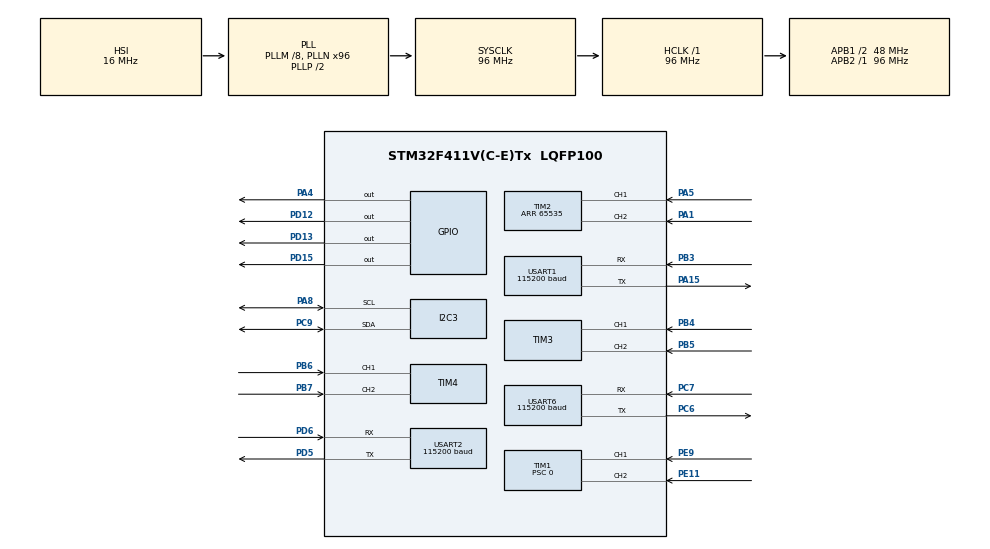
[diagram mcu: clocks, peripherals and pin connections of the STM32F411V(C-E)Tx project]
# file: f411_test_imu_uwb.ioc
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Dma.Request0=USART1_RX
Dma.USART1_RX.0.Direction=DMA_PERIPH_TO_MEMORY
Dma.USART1_RX.0.FIFOMode=DMA_FIFOMODE_DISABLE
Dma.USART1_RX.0.Instance=DMA2_Stream2
Dma.USART1_RX.0.MemDataAlignment=DMA_MDATAALIGN_BYTE
Dma.USART1_RX.0.MemInc=DMA_MINC_ENABLE
Dma.USART1_RX.0.Mode=DMA_NORMAL
Dma.USART1_RX.0.PeriphDataAlignment=DMA_PDATAALIGN_BYTE
Dma.USART1_RX.0.PeriphInc=DMA_PINC_DISABLE
Dma.USART1_RX.0.Priority=DMA_PRIORITY_LOW
Mcu.Family=STM32F4
Mcu.Name=STM32F411V(C-E)Tx
Mcu.Package=LQFP100
NVIC.DMA2_Stream2_IRQn=true\:0\:0\:false\:false\:true\:false\:true\:true
NVIC.PriorityGroup=NVIC_PRIORITYGROUP_4
NVIC.TIM1_BRK_TIM9_IRQn=true\:2\:0\:true\:false\:true\:true\:true\:true
NVIC.USART2_IRQn=true\:0\:0\:true\:false\:true\:true\:true\:true
PA0-WKUP.Mode=SYS_WakeUp0
PA0-WKUP.Signal=SYS_WKUP
PA1.Signal=S_TIM2_CH2
PA13.Mode=Serial_Wire
PA13.Signal=SYS_JTMS-SWDIO
PA14.Mode=Serial_Wire
PA14.Signal=SYS_JTCK-SWCLK
PA15.Mode=Asynchronous
PA15.Signal=USART1_TX
PA4.Signal=GPIO_Output
PA5.Signal=S_TIM2_CH1_ETR
PA8.Mode=I2C
PA8.Signal=I2C3_SCL
PB3.Mode=Asynchronous
PB3.Signal=USART1_RX
PB4.Signal=S_TIM3_CH1
PB5.Signal=S_TIM3_CH2
PB6.Signal=S_TIM4_CH1
PB7.Signal=S_TIM4_CH2
PC6.Mode=Asynchronous
PC6.Signal=USART6_TX
PC7.Mode=Asynchronous
PC7.Signal=USART6_RX
PC9.Mode=I2C
PC9.Signal=I2C3_SDA
PD12.Signal=GPIO_Output
PD13.Signal=GPIO_Output
PD15.Signal=GPIO_Output
PD5.Mode=Asynchronous
PD5.Signal=USART2_TX
PD6.Mode=Asynchronous
PD6.Signal=USART2_RX
PE11.Signal=S_TIM1_CH2
PE9.Signal=S_TIM1_CH1
PH0\ -\ OSC_IN.Mode=HSE-External-Oscillator
PH0\ -\ OSC_IN.Signal=RCC_OSC_IN
PH1\ -\ OSC_OUT.Mode=HSE-External-Oscillator
PH1\ -\ OSC_OUT.Signal=RCC_OSC_OUT
ProjectManager.HeapSize=0x200
ProjectManager.StackSize=0x400
ProjectManager.TargetToolchain=STM32CubeIDE
RCC.48MHZClocksFreq_Value=48000000
RCC.AHBFreq_Value=96000000
RCC.APB1CLKDivider=RCC_HCLK_DIV2
RCC.APB1Freq_Value=48000000
RCC.APB1TimFreq_Value=96000000
RCC.APB2Freq_Value=96000000
RCC.APB2TimFreq_Value=96000000
RCC.CortexFreq_Value=96000000
RCC.HCLKFreq_Value=96000000
RCC.HSE_VALUE=25000000
RCC.HSI_VALUE=16000000
RCC.LSE_VALUE=32768
RCC.PLLM=8
RCC.PLLN=96
RCC.SYSCLKFreq_VALUE=96000000
RCC.SYSCLKSource=RCC_SYSCLKSOURCE_PLLCLK
RCC.VCOOutputFreq_Value=192000000
SH.S_TIM1_CH1.0=TIM1_CH1,Encoder_Interface
SH.S_TIM1_CH2.0=TIM1_CH2,Encoder_Interface
SH.S_TIM2_CH1_ETR.0=TIM2_CH1,Encoder_Interface
SH.S_TIM2_CH2.0=TIM2_CH2,Encoder_Interface
SH.S_TIM3_CH1.0=TIM3_CH1,Encoder_Interface
SH.S_TIM3_CH2.0=TIM3_CH2,Encoder_Interface
SH.S_TIM4_CH1.0=TIM4_CH1,Encoder_Interface
SH.S_TIM4_CH2.0=TIM4_CH2,Encoder_Interface
TIM1.EncoderMode=TIM_ENCODERMODE_TI12
TIM1.Period=65535
TIM1.Prescaler=0
TIM2.EncoderMode=TIM_ENCODERMODE_TI12
TIM2.Period=65535
TIM3.EncoderMode=TIM_ENCODERMODE_TI12
TIM4.EncoderMode=TIM_ENCODERMODE_TI12
USART1.BaudRate=115200
USART1.VirtualMode=VM_ASYNC
USART2.BaudRate=115200
USART2.VirtualMode=VM_ASYNC
USART6.BaudRate=115200
USART6.VirtualMode=VM_ASYNC
board=custom

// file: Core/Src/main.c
/* USER CODE BEGIN Header */
/**
 ******************************************************************************
 * @file           : main.c
 * @brief          : Main program body
 ******************************************************************************
 * @attention
 *
 * Copyright (c) 2024 STMicroelectronics.
 * All rights reserved.
 *
 * This software is licensed under terms that can be found in the LICENSE file
 * in the root directory of this software component.
 * If no LICENSE file comes with this software, it is provided AS-IS.
 *
 ******************************************************************************
 */
/* USER CODE END Header */
#include "main.h"

/* USER CODE BEGIN Includes */
#include "stdio.h"
#include "stdlib.h"
#include "string.h"
#include "bno055_stm32.h"
#include "math.h"

#include "dynamic_8_g.h"
#include "rtw_continuous.h"
#include "rtw_solver.h"
#include "rtwtypes.h"

#include "kalman.h"
/* USER CODE END Includes */

/* USER CODE BEGIN PTD */
#define r 0.048
#define L 0.6
uint8_t rxData[128];
int check = 0;
double time1 = 0,time2=0;
char rx_buffer[100];
uint8_t rx_index = 0;
uint8_t rx_data[1];
uint8_t command_1;
float w1, w2, w3, w4;
float w1_sim=0, w2_sim=0, w3_sim=0, w4_sim=0;
float vx=0, vy=0,vw = 0;
char wheel[50];

uint8_t gpsData[20];
uint8_t gpsData2[20];
char d1_str[50];
char d2_str[50];
float d1 = 0, d2 = 0;
float d1_pre = 0, d2_pre = 0;
float d1_kf,d2_kf;
int d1_flag =0, d2_flag = 0;
float gpsVal = 0;
float x_p = 0, y_p = 0;
float *p[] = { &d1, &d2 };
float d1_calib = 0, d2_calib = 0;
float cos_a;
float a, b;
#define  c  3.0
#define  h  0.3
char *token1;
char *token2;

volatile short cnt1 = 0, cnt_pre1 = 0;
volatile short cnt2 = 0, cnt_pre2 = 0;
volatile short cnt3 = 0, cnt_pre3 = 0;
volatile short cnt4 = 0, cnt_pre4 = 0;
float rate1 = 0, rate2 = 0, rate3 = 0, rate4 = 0;
char position[50];

float yaw = 0;
volatile float roll = 0;
volatile float pitch = 0;
float xq, yq, zq;
char angle[100];
/* USER CODE END PTD */

/* USER CODE BEGIN PD */
bno055_vector_t v;
bno055_vector_t v2;

/* USER CODE END PD */

I2C_HandleTypeDef hi2c3;

TIM_HandleTypeDef htim1;
TIM_HandleTypeDef htim2;
TIM_HandleTypeDef htim3;
TIM_HandleTypeDef htim4;

UART_HandleTypeDef huart1;
UART_HandleTypeDef huart2;
UART_HandleTypeDef huart6;
DMA_HandleTypeDef hdma_usart1_rx;

void SystemClock_Config(void);
static void MX_GPIO_Init(void);
static void MX_DMA_Init(void);
static void MX_TIM1_Init(void);
static void MX_USART2_UART_Init(void);
static void MX_TIM2_Init(void);
static void MX_TIM3_Init(void);
static void MX_TIM4_Init(void);
static void MX_USART6_UART_Init(void);
static void MX_USART1_UART_Init(void);
static void MX_I2C3_Init(void);

/* USER CODE BEGIN 0 */
void encoder_cal() {
	//cnt_pre1 = __HAL_TIM_GET_COUNTER(&htim2);
	//cnt_pre2 = __HAL_TIM_GET_COUNTER(&htim4);
	//cnt_pre3 = __HAL_TIM_GET_COUNTER(&htim3);
	//cnt_pre4 = __HAL_TIM_GET_COUNTER(&htim1);
	//HAL_Delay(100);
	/*cnt4 = __HAL_TIM_GET_COUNTER(&htim1);
	 cnt1 = __HAL_TIM_GET_COUNTER(&htim2);
	 cnt3 = __HAL_TIM_GET_COUNTER(&htim3);
	 cnt2 = __HAL_TIM_GET_COUNTER(&htim4);
	 rate1 = ((float)(cnt1 - cnt_pre1)*60)/(4*440*0.1);
	 rate2 = ((float)(cnt2 - cnt_pre2)*60)/(4*440*0.1);
	 rate3 = ((float)(cnt3 - cnt_pre3)*60)/(4*440*0.1);
	 rate4 = ((float)(cnt4 - cnt_pre4)*60)/(4*440*0.1);*/

	//HAL_Delay(100);
	cnt_pre4 = __HAL_TIM_GET_COUNTER(&htim1);
	cnt_pre1 = __HAL_TIM_GET_COUNTER(&htim2);
	cnt_pre3 = __HAL_TIM_GET_COUNTER(&htim3);
	cnt_pre2 = __HAL_TIM_GET_COUNTER(&htim4);
	HAL_Delay(10);
	cnt4 = __HAL_TIM_GET_COUNTER(&htim1);
	cnt1 = __HAL_TIM_GET_COUNTER(&htim2);
	cnt3 = __HAL_TIM_GET_COUNTER(&htim3);
	cnt2 = __HAL_TIM_GET_COUNTER(&htim4);

	rate1 = (((float) (cnt1 - cnt_pre1)) / (990 * 0.01 * 4)) * 60;
	rate2 = (((float) (cnt2 - cnt_pre2)) / (990 * 0.01 * 4)) * 60;
	rate3 = (((float) (cnt3 - cnt_pre3)) / (990 * 0.01 * 4)) * 60;
	rate4 = (((float) (cnt4 - cnt_pre4)) / (990 * 0.01 * 4)) * 60;

	w1 = rate1 * 2 * 3.14 / 60;
	w2 = rate2 * 2 * 3.14 / 60;
	w3 = rate3 * 2 * 3.14 / 60;
	w4 = rate4 * 2 * 3.14 / 60;

	vx = (r/4)*(w1 + w2 + w3 + w4);
	vy = (r/4)*(-w1 + w2 - w3 + w4);
	vw = (r/(4*L))*(-w1 + w2 + w3 - w4);
}

void pos_xy(float da, float db) {
	a = db * db - h * h;
	a = sqrt(a);
	b = da * da - h * h;
	b = sqrt(b);

	cos_a = (b * b + c * c - a * a) / (2 * b * c);
	x_p = b * cos_a;
	if ((1 - cos_a * cos_a) >= 0) {
		y_p = b * sqrt(1 - cos_a * cos_a);
	}
}
void get_yaw()
{
	 v = bno055_getVectorEuler();
	 yaw = v.x;
	// yaw = (yaw/360)*2*3.1415;
	 if ((yaw >= 0) && (yaw < 180))
		{
		 yaw = -(yaw/360)*2*3.1416;
		}
	 else
	 {
		 yaw = 360 - yaw;
		 yaw = (yaw/360)*2*3.1416;
	 }
	// v2 = bno055_getVectorGyroscope();
	// zq = v2.z;
	}
void get_d() {
	int cnt1 = 0;
	while (cnt1 < 20) {
		HAL_UART_Receive(&huart1, gpsData, 7,10);

		if (gpsData[0] == 'A') {
			token1 = strtok((char*) gpsData, "A");
			d1_pre = atof(token1);
			if (d1_flag == 0)
			{
				d1 = d1_pre;
				d1_flag = 1;
			}
			if ((fabs(d1-d1_pre)<5) && d1_pre != 0)
			{
				d1 = d1_pre;

				d1_calib = d1 - 0.376;
			//	d1_pre = 0;
			//	sprintf(d1_str,"A,%.4f\r\n",d1_pre);
			//	HAL_UART_Transmit(&huart2, d1_str, strlen(d1_str), 100);
			}
		}
		if (gpsData[0] == 'B') {
			token2 = strtok((char*) gpsData, "B");
			d2_pre = atof(token2);
			if (d2_flag == 0)
			{
				d2 = atof(token2);
				d2_flag = 1;
			}
			if((fabs(d2-d2_pre) < 5) && d2_pre != 0)
			{
				d2 = d2_pre;

				d2_calib = d2 - 0.776  ;
			//	d2_pre = 0;
			//	sprintf(d2_str,"B,%.4f\r\n",d2_pre);
			//	HAL_UART_Transmit(&huart2, d2_str, strlen(d2_str), 100);
			}

		}
		//HAL_Delay(10);
		pos_xy(d1_calib, d2_calib);
		memset(gpsData, 0, 7);

		cnt1++;
	}
}
/*
void HAL_TIM_PeriodElapsedCallback(TIM_HandleTypeDef *htim) {
	if (htim->Instance == TIM9) {
		//check++;
		//HAL_Delay(100);
		cnt4 = __HAL_TIM_GET_COUNTER(&htim1);
		cnt1 = __HAL_TIM_GET_COUNTER(&htim2);
		cnt3 = __HAL_TIM_GET_COUNTER(&htim3);
		cnt2 = __HAL_TIM_GET_COUNTER(&htim4);
		rate1 = ((float) (cnt1 - cnt_pre1) * 60 * 15) / (60 * 440 * 0.1);
		rate2 = ((float) (cnt2 - cnt_pre2) * 60 * 15) / (60 * 440 * 0.1);
		rate3 = ((float) (cnt3 - cnt_pre3) * 60 * 15) / (60 * 440 * 0.1);
		rate4 = ((float) (cnt4 - cnt_pre4) * 60 * 15) / (60 * 440 * 0.1);
		cnt_pre1 = cnt1;
		cnt_pre2 = cnt2;
		cnt_pre3 = cnt3;
		cnt_pre4 = cnt4;
		//sprintf(encoder,"%.2f;%.2f;%.2f;%.2f\r\n",rate1,rate2,rate3,rate4);
		//HAL_UART_Transmit(&huart2, (uint8_t *)encoder, strlen(encoder), 100);
		//rate = (((float)cnt)/(440*0.1*4))*60;
		sprintf(position, "E=%.2f;%.2f;%.2f;%.2f;%.2f;%.2f;%.2f;%.2f\r\n",
				rate1, rate2, rate3, rate4, x_p, y_p, yaw, zq);
		//HAL_UART_Transmit_DMA(&huart2, (uint8_t *)position, strlen(position));

	}
}*/

/* USER CODE END 0 */

int main(void)
{

  /* MCU Configuration--------------------------------------------------------*/

  /* Reset of all peripherals, Initializes the Flash interface and the Systick. */
  HAL_Init();

  /* Configure the system clock */
  SystemClock_Config();

  /* Initialize all configured peripherals */
  MX_GPIO_Init();
  MX_DMA_Init();
  MX_TIM1_Init();
  MX_USART2_UART_Init();
  MX_TIM2_Init();
  MX_TIM3_Init();
  MX_TIM4_Init();
  MX_USART6_UART_Init();
  MX_USART1_UART_Init();
  MX_I2C3_Init();
  /* USER CODE BEGIN 2 */

	//HAL_TIM_PWM_Start(&htim2, TIM_CHANNEL_ALL);
  	HAL_GPIO_WritePin(GPIOD, GPIO_PIN_15, SET);
  	HAL_GPIO_WritePin(GPIOD, GPIO_PIN_12, SET);
  	HAL_GPIO_WritePin(GPIOD, GPIO_PIN_13, SET);

	HAL_TIM_Encoder_Start(&htim1, TIM_CHANNEL_1);
	HAL_TIM_Encoder_Start(&htim1, TIM_CHANNEL_2);
	HAL_TIM_Encoder_Start(&htim2, TIM_CHANNEL_1);
	HAL_TIM_Encoder_Start(&htim2, TIM_CHANNEL_2);
	HAL_TIM_Encoder_Start(&htim3, TIM_CHANNEL_1);
	HAL_TIM_Encoder_Start(&htim3, TIM_CHANNEL_2);
	HAL_TIM_Encoder_Start(&htim4, TIM_CHANNEL_1);
	HAL_TIM_Encoder_Start(&htim4, TIM_CHANNEL_2);
	check = 0;

	HAL_UART_Receive_IT(&huart2, rx_data, 1);

	bno055_assignI2C(&hi2c3);

	bno055_setup();
	bno055_setOperationModeNDOF();

	//HAL_UART_Receive_IT(&huart2, rxData, 1);
	//HAL_UART_Receive_IT(&huart1, gpsData, 7);
	dynamic_8_g_initialize();
	get_d();
	get_yaw();
	rtU.x0 = x_p;
	rtU.y0 = y_p;
	rtU.theta0 = yaw;

	//HAL_TIM_Base_Start_IT(&htim9);

  /* USER CODE END 2 */

  /* Infinite loop */
	while (1) {

    /* USER CODE BEGIN 3 */

		//check++;
		//HAL_Delay(100);
		//rate = (((float)cnt)/(440*0.1*4))*60;
		/*v = bno055_getVectorEuler();
		 yaw = v.x;
		 yaw = 360 - yaw;
		 roll = v.y;
		 pitch = v.z;
		 //v2 = bno055_getVectorQuaternion();
		 v2 = bno055_getVectorGyroscope();
		 xq = v2.x;
		 yq = v2.y;
		 zq = v2.z;*/

		//sprintf(angle, "Heading: %.2f Roll: %.2f Pitch: %.2f\r\n", yaw, roll, pitch);
		//HAL_UART_Transmit(&huart1, (uint8_t *)angle, strlen(angle), 100);
		//sprintf(encoder, "E=%.2f;%.2f;%.2f;%.2f;%.2f;%.2f;%.2f;%.2f\r\n",rate1,rate2,rate3,rate4,x_p,y_p,yaw,zq);
		//HAL_UART_Transmit(&huart2, (uint8_t *)encoder, strlen(encoder), 100);
		//encoder_cal();
		//sprintf(encoder, "E=%.2f;%.2f;%.2f;%.2f;%.2f;%.2f;%.2f;%.2f\r\n",rate1,rate2,rate3,rate4,x_p,y_p,yaw,zq);
		//HAL_UART_Transmit(&huart2, (uint8_t *)tx_buffer, strlen(tx_buffer), 100);
		//sprintf(wheel, "%.2f,%.2f,%.2f,%.2f\r\n", w1_sim, w2_sim, w3_sim, w4_sim);
		//HAL_UART_Transmit(&huart6, (uint8_t *)wheel, strlen(rx_buffer), 100);

		get_d();
		get_yaw();
		encoder_cal();
		rtU.vx = vx ;
		rtU.vy = vy ;
		rtU.theta_dot = vw;
		rtU.x = x_p;
		rtU.y = y_p;
		rtU.theta = yaw;
		time1 = rtM->Timing.t[0];
		dynamic_8_g_step();
		time2 = rtM->Timing.t[0];
		w1_sim = rtY.w1;
		w2_sim = rtY.w2;
		w3_sim = rtY.w3;
		w4_sim = rtY.w4;

		memset(wheel,0,strlen(wheel));
		sprintf(wheel, "%.2f;%.2f;%.2f;%.2f\r\n", w1_sim, w2_sim, w3_sim, w4_sim);
		HAL_UART_Transmit(&huart6, (uint8_t *)wheel, strlen(wheel), 100);

	}
  /* USER CODE END 3 */
}

void SystemClock_Config(void)
{
  RCC_OscInitTypeDef RCC_OscInitStruct = {0};
  RCC_ClkInitTypeDef RCC_ClkInitStruct = {0};

  /** Configure the main internal regulator output voltage
  */
  __HAL_RCC_PWR_CLK_ENABLE();
  __HAL_PWR_VOLTAGESCALING_CONFIG(PWR_REGULATOR_VOLTAGE_SCALE1);

  /** Initializes the RCC Oscillators according to the specified parameters
  * in the RCC_OscInitTypeDef structure.
  */
  RCC_OscInitStruct.OscillatorType = RCC_OSCILLATORTYPE_HSI;
  RCC_OscInitStruct.HSIState = RCC_HSI_ON;
  RCC_OscInitStruct.HSICalibrationValue = RCC_HSICALIBRATION_DEFAULT;
  RCC_OscInitStruct.PLL.PLLState = RCC_PLL_ON;
  RCC_OscInitStruct.PLL.PLLSource = RCC_PLLSOURCE_HSI;
  RCC_OscInitStruct.PLL.PLLM = 8;
  RCC_OscInitStruct.PLL.PLLN = 96;
  RCC_OscInitStruct.PLL.PLLP = RCC_PLLP_DIV2;
  RCC_OscInitStruct.PLL.PLLQ = 4;
  if (HAL_RCC_OscConfig(&RCC_OscInitStruct) != HAL_OK)
  {
    Error_Handler();
  }

  /** Initializes the CPU, AHB and APB buses clocks
  */
  RCC_ClkInitStruct.ClockType = RCC_CLOCKTYPE_HCLK|RCC_CLOCKTYPE_SYSCLK
                              |RCC_CLOCKTYPE_PCLK1|RCC_CLOCKTYPE_PCLK2;
  RCC_ClkInitStruct.SYSCLKSource = RCC_SYSCLKSOURCE_PLLCLK;
  RCC_ClkInitStruct.AHBCLKDivider = RCC_SYSCLK_DIV1;
  RCC_ClkInitStruct.APB1CLKDivider = RCC_HCLK_DIV2;
  RCC_ClkInitStruct.APB2CLKDivider = RCC_HCLK_DIV1;

  if (HAL_RCC_ClockConfig(&RCC_ClkInitStruct, FLASH_LATENCY_3) != HAL_OK)
  {
    Error_Handler();
  }
}

static void MX_I2C3_Init(void)
{

  hi2c3.Instance = I2C3;
  hi2c3.Init.ClockSpeed = 100000;
  hi2c3.Init.DutyCycle = I2C_DUTYCYCLE_2;
  hi2c3.Init.OwnAddress1 = 0;
  hi2c3.Init.AddressingMode = I2C_ADDRESSINGMODE_7BIT;
  hi2c3.Init.DualAddressMode = I2C_DUALADDRESS_DISABLE;
  hi2c3.Init.OwnAddress2 = 0;
  hi2c3.Init.GeneralCallMode = I2C_GENERALCALL_DISABLE;
  hi2c3.Init.NoStretchMode = I2C_NOSTRETCH_DISABLE;
  if (HAL_I2C_Init(&hi2c3) != HAL_OK)
  {
    Error_Handler();
  }

}

static void MX_TIM1_Init(void)
{

  TIM_Encoder_InitTypeDef sConfig = {0};
  TIM_MasterConfigTypeDef sMasterConfig = {0};

  htim1.Instance = TIM1;
  htim1.Init.Prescaler = 0;
  htim1.Init.CounterMode = TIM_COUNTERMODE_UP;
  htim1.Init.Period = 65535;
  htim1.Init.ClockDivision = TIM_CLOCKDIVISION_DIV1;
  htim1.Init.RepetitionCounter = 0;
  htim1.Init.AutoReloadPreload = TIM_AUTORELOAD_PRELOAD_DISABLE;
  sConfig.EncoderMode = TIM_ENCODERMODE_TI12;
  sConfig.IC1Polarity = TIM_ICPOLARITY_RISING;
  sConfig.IC1Selection = TIM_ICSELECTION_DIRECTTI;
  sConfig.IC1Prescaler = TIM_ICPSC_DIV1;
  sConfig.IC1Filter = 0;
  sConfig.IC2Polarity = TIM_ICPOLARITY_RISING;
  sConfig.IC2Selection = TIM_ICSELECTION_DIRECTTI;
  sConfig.IC2Prescaler = TIM_ICPSC_DIV1;
  sConfig.IC2Filter = 0;
  if (HAL_TIM_Encoder_Init(&htim1, &sConfig) != HAL_OK)
  {
    Error_Handler();
  }
  sMasterConfig.MasterOutputTrigger = TIM_TRGO_RESET;
  sMasterConfig.MasterSlaveMode = TIM_MASTERSLAVEMODE_DISABLE;
  if (HAL_TIMEx_MasterConfigSynchronization(&htim1, &sMasterConfig) != HAL_OK)
  {
    Error_Handler();
  }

}

static void MX_TIM2_Init(void)
{

  TIM_Encoder_InitTypeDef sConfig = {0};
  TIM_MasterConfigTypeDef sMasterConfig = {0};

  htim2.Instance = TIM2;
  htim2.Init.Prescaler = 0;
  htim2.Init.CounterMode = TIM_COUNTERMODE_UP;
  htim2.Init.Period = 65535;
  htim2.Init.ClockDivision = TIM_CLOCKDIVISION_DIV1;
  htim2.Init.AutoReloadPreload = TIM_AUTORELOAD_PRELOAD_DISABLE;
  sConfig.EncoderMode = TIM_ENCODERMODE_TI12;
  sConfig.IC1Polarity = TIM_ICPOLARITY_RISING;
  sConfig.IC1Selection = TIM_ICSELECTION_DIRECTTI;
  sConfig.IC1Prescaler = TIM_ICPSC_DIV1;
  sConfig.IC1Filter = 0;
  sConfig.IC2Polarity = TIM_ICPOLARITY_RISING;
  sConfig.IC2Selection = TIM_ICSELECTION_DIRECTTI;
  sConfig.IC2Prescaler = TIM_ICPSC_DIV1;
  sConfig.IC2Filter = 0;
  if (HAL_TIM_Encoder_Init(&htim2, &sConfig) != HAL_OK)
  {
    Error_Handler();
  }
  sMasterConfig.MasterOutputTrigger = TIM_TRGO_RESET;
  sMasterConfig.MasterSlaveMode = TIM_MASTERSLAVEMODE_DISABLE;
  if (HAL_TIMEx_MasterConfigSynchronization(&htim2, &sMasterConfig) != HAL_OK)
  {
    Error_Handler();
  }

}

static void MX_TIM3_Init(void)
{

  TIM_Encoder_InitTypeDef sConfig = {0};
  TIM_MasterConfigTypeDef sMasterConfig = {0};

  htim3.Instance = TIM3;
  htim3.Init.Prescaler = 0;
  htim3.Init.CounterMode = TIM_COUNTERMODE_UP;
  htim3.Init.Period = 65535;
  htim3.Init.ClockDivision = TIM_CLOCKDIVISION_DIV1;
  htim3.Init.AutoReloadPreload = TIM_AUTORELOAD_PRELOAD_DISABLE;
  sConfig.EncoderMode = TIM_ENCODERMODE_TI12;
  sConfig.IC1Polarity = TIM_ICPOLARITY_RISING;
  sConfig.IC1Selection = TIM_ICSELECTION_DIRECTTI;
  sConfig.IC1Prescaler = TIM_ICPSC_DIV1;
  sConfig.IC1Filter = 0;
  sConfig.IC2Polarity = TIM_ICPOLARITY_RISING;
  sConfig.IC2Selection = TIM_ICSELECTION_DIRECTTI;
  sConfig.IC2Prescaler = TIM_ICPSC_DIV1;
  sConfig.IC2Filter = 0;
  if (HAL_TIM_Encoder_Init(&htim3, &sConfig) != HAL_OK)
  {
    Error_Handler();
  }
  sMasterConfig.MasterOutputTrigger = TIM_TRGO_RESET;
  sMasterConfig.MasterSlaveMode = TIM_MASTERSLAVEMODE_DISABLE;
  if (HAL_TIMEx_MasterConfigSynchronization(&htim3, &sMasterConfig) != HAL_OK)
  {
    Error_Handler();
  }

}

static void MX_TIM4_Init(void)
{

  TIM_Encoder_InitTypeDef sConfig = {0};
  TIM_MasterConfigTypeDef sMasterConfig = {0};

  htim4.Instance = TIM4;
  htim4.Init.Prescaler = 0;
  htim4.Init.CounterMode = TIM_COUNTERMODE_UP;
  htim4.Init.Period = 65535;
  htim4.Init.ClockDivision = TIM_CLOCKDIVISION_DIV1;
  htim4.Init.AutoReloadPreload = TIM_AUTORELOAD_PRELOAD_DISABLE;
  sConfig.EncoderMode = TIM_ENCODERMODE_TI12;
  sConfig.IC1Polarity = TIM_ICPOLARITY_RISING;
  sConfig.IC1Selection = TIM_ICSELECTION_DIRECTTI;
  sConfig.IC1Prescaler = TIM_ICPSC_DIV1;
  sConfig.IC1Filter = 0;
  sConfig.IC2Polarity = TIM_ICPOLARITY_RISING;
  sConfig.IC2Selection = TIM_ICSELECTION_DIRECTTI;
  sConfig.IC2Prescaler = TIM_ICPSC_DIV1;
  sConfig.IC2Filter = 0;
  if (HAL_TIM_Encoder_Init(&htim4, &sConfig) != HAL_OK)
  {
    Error_Handler();
  }
  sMasterConfig.MasterOutputTrigger = TIM_TRGO_RESET;
  sMasterConfig.MasterSlaveMode = TIM_MASTERSLAVEMODE_DISABLE;
  if (HAL_TIMEx_MasterConfigSynchronization(&htim4, &sMasterConfig) != HAL_OK)
  {
    Error_Handler();
  }

}

static void MX_USART1_UART_Init(void)
{

  huart1.Instance = USART1;
  huart1.Init.BaudRate = 115200;
  huart1.Init.WordLength = UART_WORDLENGTH_8B;
  huart1.Init.StopBits = UART_STOPBITS_1;
  huart1.Init.Parity = UART_PARITY_NONE;
  huart1.Init.Mode = UART_MODE_TX_RX;
  huart1.Init.HwFlowCtl = UART_HWCONTROL_NONE;
  huart1.Init.OverSampling = UART_OVERSAMPLING_16;
  if (HAL_UART_Init(&huart1) != HAL_OK)
  {
    Error_Handler();
  }

}

static void MX_USART2_UART_Init(void)
{

  huart2.Instance = USART2;
  huart2.Init.BaudRate = 115200;
  huart2.Init.WordLength = UART_WORDLENGTH_8B;
  huart2.Init.StopBits = UART_STOPBITS_1;
  huart2.Init.Parity = UART_PARITY_NONE;
  huart2.Init.Mode = UART_MODE_TX_RX;
  huart2.Init.HwFlowCtl = UART_HWCONTROL_NONE;
  huart2.Init.OverSampling = UART_OVERSAMPLING_16;
  if (HAL_UART_Init(&huart2) != HAL_OK)
  {
    Error_Handler();
  }

}

static void MX_USART6_UART_Init(void)
{

  huart6.Instance = USART6;
  huart6.Init.BaudRate = 115200;
  huart6.Init.WordLength = UART_WORDLENGTH_8B;
  huart6.Init.StopBits = UART_STOPBITS_1;
  huart6.Init.Parity = UART_PARITY_NONE;
  huart6.Init.Mode = UART_MODE_TX_RX;
  huart6.Init.HwFlowCtl = UART_HWCONTROL_NONE;
  huart6.Init.OverSampling = UART_OVERSAMPLING_16;
  if (HAL_UART_Init(&huart6) != HAL_OK)
  {
    Error_Handler();
  }

}

static void MX_DMA_Init(void)
{

  /* DMA controller clock enable */
  __HAL_RCC_DMA2_CLK_ENABLE();

  /* DMA interrupt init */
  /* DMA2_Stream2_IRQn interrupt configuration */
  HAL_NVIC_SetPriority(DMA2_Stream2_IRQn, 0, 0);
  HAL_NVIC_EnableIRQ(DMA2_Stream2_IRQn);

}

static void MX_GPIO_Init(void)
{
  GPIO_InitTypeDef GPIO_InitStruct = {0};

  /* GPIO Ports Clock Enable */
  __HAL_RCC_GPIOH_CLK_ENABLE();
  __HAL_RCC_GPIOA_CLK_ENABLE();
  __HAL_RCC_GPIOE_CLK_ENABLE();
  __HAL_RCC_GPIOD_CLK_ENABLE();
  __HAL_RCC_GPIOC_CLK_ENABLE();
  __HAL_RCC_GPIOB_CLK_ENABLE();

  /*Configure GPIO pin Output Level */
  HAL_GPIO_WritePin(GPIOA, GPIO_PIN_4, GPIO_PIN_RESET);

  /*Configure GPIO pin Output Level */
  HAL_GPIO_WritePin(GPIOD, GPIO_PIN_12|GPIO_PIN_13|GPIO_PIN_15, GPIO_PIN_RESET);

  /*Configure GPIO pin : PA4 */
  GPIO_InitStruct.Pin = GPIO_PIN_4;
  GPIO_InitStruct.Mode = GPIO_MODE_OUTPUT_PP;
  GPIO_InitStruct.Pull = GPIO_NOPULL;
  GPIO_InitStruct.Speed = GPIO_SPEED_FREQ_LOW;
  HAL_GPIO_Init(GPIOA, &GPIO_InitStruct);

  /*Configure GPIO pins : PD12 PD13 PD15 */
  GPIO_InitStruct.Pin = GPIO_PIN_12|GPIO_PIN_13|GPIO_PIN_15;
  GPIO_InitStruct.Mode = GPIO_MODE_OUTPUT_PP;
  GPIO_InitStruct.Pull = GPIO_NOPULL;
  GPIO_InitStruct.Speed = GPIO_SPEED_FREQ_LOW;
  HAL_GPIO_Init(GPIOD, &GPIO_InitStruct);

}

void Error_Handler(void)
{
	__disable_irq();
	while (1) {
	}
}
